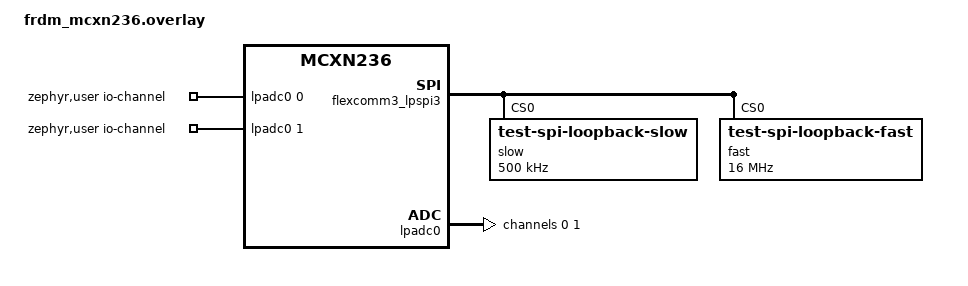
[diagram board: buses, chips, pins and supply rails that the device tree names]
/*
 * Copyright 2024 NXP
 *
 * SPDX-License-Identifier: Apache-2.0
 */

/* To test this sample, connect
 * LPSPI3 MOSI(J2-8, P1_0/FC3_P0)     -->        LPSPI3 MISO(J2-10, P1_2/FC3_P2)
 */
&flexcomm3_lpspi3 {
	slow@0 {
		compatible = "test-spi-loopback-slow";
		reg = <0>;
		spi-max-frequency = <500000>;
	};

	fast@0 {
		compatible = "test-spi-loopback-fast";
		reg = <0>;
		spi-max-frequency = <16000000>;
	};
};

#include <zephyr/dt-bindings/adc/adc.h>

#include <zephyr/dt-bindings/adc/mcux-lpadc.h>

/ {
	zephyr,user {
		io-channels = <&lpadc0 0>, <&lpadc0 1>;
	};
};

&lpadc0 {
	#address-cells = <1>;
	#size-cells = <0>;
	channel@0 {
		reg = <0>;
		zephyr,gain = "ADC_GAIN_1";
		zephyr,reference = "ADC_REF_EXTERNAL1";
		zephyr,acquisition-time = <ADC_ACQ_TIME_DEFAULT>;
		zephyr,resolution = <12>;
		zephyr,vref-mv = <1800>;
		zephyr,input-positive = <MCUX_LPADC_CH1A>;
	};
	channel@1 {
		reg = <1>;
		zephyr,gain = "ADC_GAIN_1";
		zephyr,reference = "ADC_REF_EXTERNAL1";
		zephyr,acquisition-time = <ADC_ACQ_TIME_DEFAULT>;
		zephyr,resolution = <12>;
		zephyr,vref-mv = <1800>;
		zephyr,input-positive = <MCUX_LPADC_CH2A>;
	};
};
